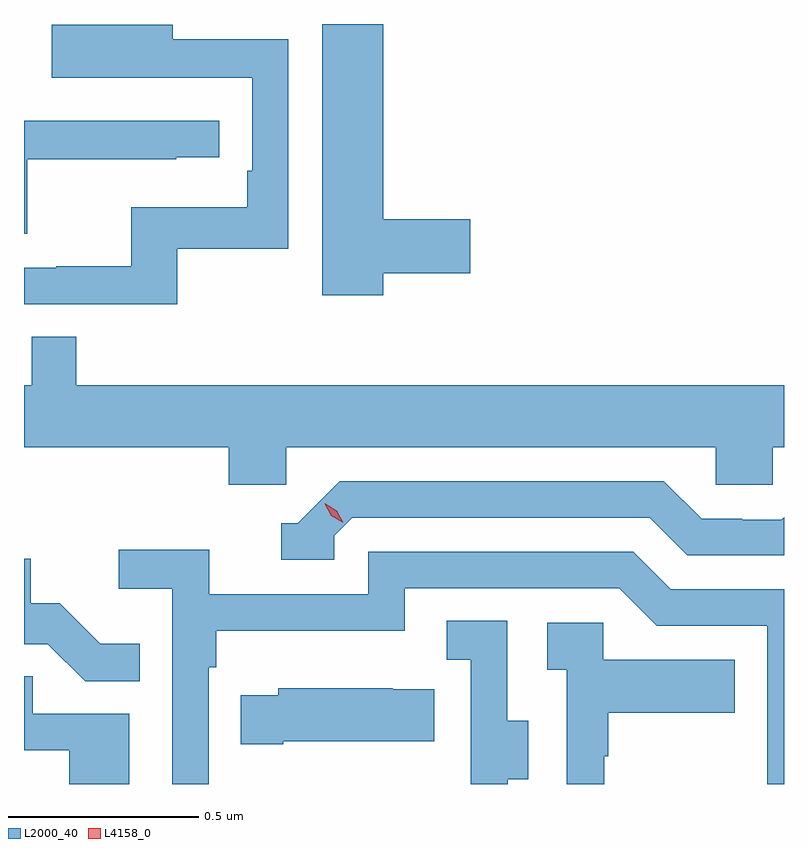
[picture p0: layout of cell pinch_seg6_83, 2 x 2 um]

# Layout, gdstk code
import gdstk
lib = gdstk.Library(unit=1e-6, precision=1e-09)
def P(c, l, *ps):  # polygons
    for p in ps: c.add(gdstk.Polygon(p, *l))
L2000_40 = (2000, 40)
L4158_0 = (4158, 0)

pinch_seg6_83 = lib.new_cell('pinch_seg6_83')
P(pinch_seg6_83, L2000_40, [(906.304,933.142),(906.532,933.142),(906.532,933.284),(906.304,933.284),(906.304,933.798),(906.143,933.798),(906.143,933.084),(906.304,933.084)],
  [(905.761,933.207),(906.054,933.207),(906.054,933.758),(905.749,933.758),(905.749,933.796),(905.431,933.796),(905.431,933.656),(905.645,933.656),(905.645,933.657),(905.958,933.657),(905.958,933.412),(905.945,933.412),(905.945,933.316),(905.64,933.316),(905.64,933.161),(905.443,933.161),(905.443,933.156),(905.358,933.156),(905.358,933.06),(905.761,933.06)],
  [(905.366,933.442),(905.759,933.442),(905.759,933.447),(905.872,933.447),(905.872,933.543),(905.358,933.543),(905.358,933.246),(905.366,933.246)],
  [(906.048,932.684),(907.179,932.684),(907.179,932.586),(907.329,932.586),(907.329,932.684),(907.358,932.684),(907.358,932.848),(905.495,932.848),(905.495,932.975),(905.379,932.975),(905.379,932.848),(905.358,932.848),(905.358,932.684),(905.897,932.684),(905.897,932.586),(906.048,932.586)],
  [(906.174,932.451),(906.222,932.499),(907.005,932.499),(907.104,932.4),(907.358,932.4),(907.358,932.5),(907.351,932.493),(907.248,932.493),(907.248,932.496),(907.141,932.496),(907.042,932.595),(906.189,932.595),(906.078,932.484),(906.035,932.484),(906.035,932.388),(906.174,932.388)],
  [(905.844,932.105),(905.864,932.105),(905.864,932.201),(906.36,932.201),(906.36,932.313),(906.924,932.313),(907.023,932.214),(907.314,932.214),(907.314,931.798),(907.358,931.798),(907.358,932.31),(907.06,932.31),(906.961,932.409),(906.264,932.409),(906.264,932.298),(905.846,932.298),(905.846,932.414),(905.607,932.414),(905.607,932.312),(905.748,932.312),(905.748,931.798),(905.844,931.798)],
  [(905.663,932.167),(905.559,932.167),(905.452,932.274),(905.376,932.274),(905.376,932.391),(905.358,932.391),(905.358,932.166),(905.421,932.166),(905.519,932.068),(905.663,932.068)],
  [(906.631,931.81),(906.685,931.81),(906.685,931.965),(906.63,931.965),(906.63,932.228),(906.471,932.228),(906.471,932.125),(906.534,932.125),(906.534,931.821),(906.533,931.821),(906.533,931.798),(906.631,931.798)],
  [(906.885,931.871),(906.895,931.871),(906.895,931.985),(907.229,931.985),(907.229,932.125),(906.882,932.125),(906.882,932.223),(906.735,932.223),(906.735,932.099),(906.786,932.099),(906.786,931.798),(906.885,931.798)],
  [(905.635,931.983),(905.381,931.983),(905.381,932.081),(905.358,932.081),(905.358,931.887),(905.477,931.887),(905.477,931.798),(905.635,931.798)],
  [(906.04,931.91),(906.437,931.91),(906.437,932.047),(906.329,932.047),(906.329,932.05),(906.027,932.05),(906.027,932.032),(905.929,932.032),(905.929,931.903),(906.04,931.903)])
P(pinch_seg6_83, L4158_0, [(906.198,932.485),(906.167,932.504),(906.15,932.536),(906.15,932.537),(906.15,932.537),(906.181,932.517),(906.198,932.485),(906.198,932.485)])

lib.write_gds('pinch_seg6_83.gds')
